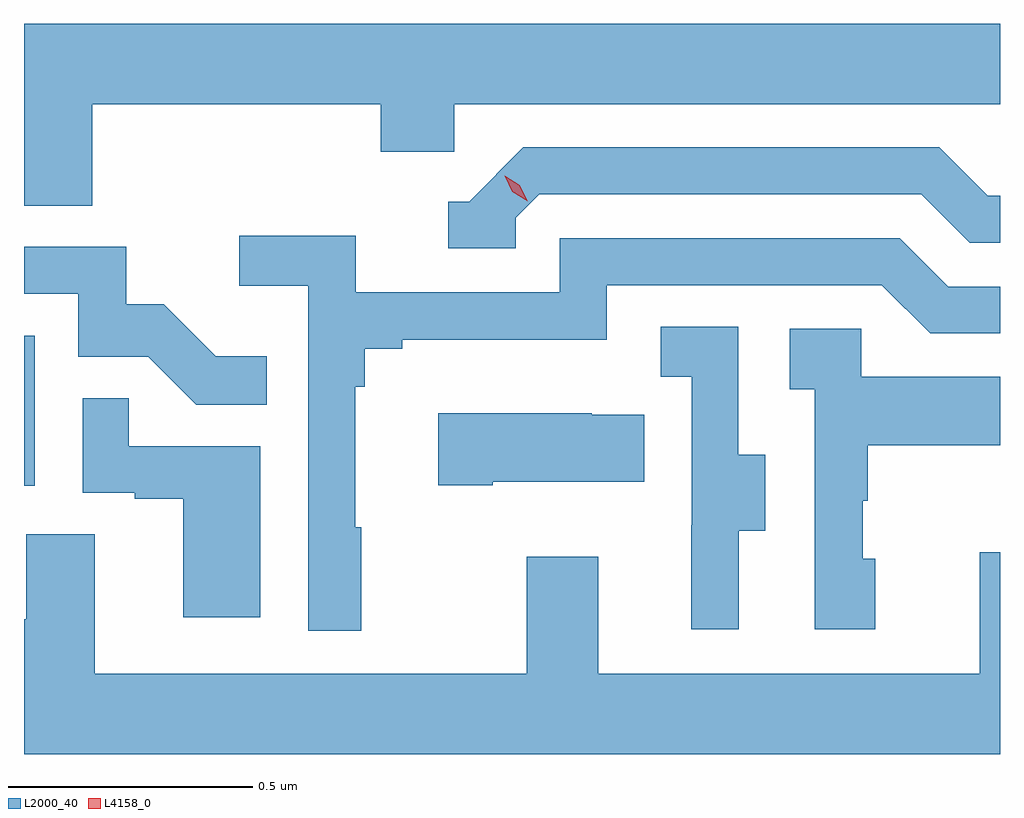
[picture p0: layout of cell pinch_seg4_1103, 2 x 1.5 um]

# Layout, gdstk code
import gdstk
lib = gdstk.Library(unit=1e-6, precision=1e-09)
def R(c, l, rs):  # rectangles x0, y0, x1, y1
    for r in rs: c.add(gdstk.rectangle(r[:2], r[2:], *l))
def P(c, l, *ps):  # polygons
    for p in ps: c.add(gdstk.Polygon(p, *l))
L2000_40 = (2000, 40)
L4158_0 = (4158, 0)

pinch_seg4_1103 = lib.new_cell('pinch_seg4_1103')
R(pinch_seg4_1103, L2000_40, [(880.08,753.414,880.102,753.721)])
P(pinch_seg4_1103, L2000_40, [(880.22,754.196),(880.811,754.196),(880.811,754.098),(880.962,754.098),(880.962,754.196),(882.08,754.196),(882.08,754.36),(880.08,754.36),(880.08,753.988),(880.22,753.988)],
  [(881.088,753.963),(881.136,754.011),(881.919,754.011),(882.018,753.912),(882.08,753.912),(882.08,754.008),(882.055,754.008),(881.956,754.107),(881.103,754.107),(880.992,753.996),(880.949,753.996),(880.949,753.9),(881.088,753.9)],
  [(880.771,753.329),(880.759,753.329),(880.759,753.617),(880.778,753.617),(880.778,753.694),(880.855,753.694),(880.855,753.713),(881.274,753.713),(881.274,753.825),(881.838,753.825),(881.937,753.726),(882.08,753.726),(882.08,753.822),(881.974,753.822),(881.875,753.921),(881.178,753.921),(881.178,753.81),(880.76,753.81),(880.76,753.926),(880.521,753.926),(880.521,753.824),(880.662,753.824),(880.662,753.117),(880.771,753.117)],
  [(880.577,753.679),(880.473,753.679),(880.366,753.786),(880.29,753.786),(880.29,753.903),(880.08,753.903),(880.08,753.807),(880.191,753.807),(880.191,753.678),(880.335,753.678),(880.433,753.58),(880.577,753.58)],
  [(881.545,753.322),(881.599,753.322),(881.599,753.477),(881.544,753.477),(881.544,753.74),(881.385,753.74),(881.385,753.637),(881.448,753.637),(881.448,753.333),(881.447,753.333),(881.447,753.12),(881.545,753.12)],
  [(881.824,753.264),(881.799,753.264),(881.799,753.383),(881.809,753.383),(881.809,753.497),(882.08,753.497),(882.08,753.637),(881.796,753.637),(881.796,753.735),(881.649,753.735),(881.649,753.611),(881.7,753.611),(881.7,753.12),(881.824,753.12)],
  [(880.564,753.495),(880.295,753.495),(880.295,753.593),(880.2,753.593),(880.2,753.399),(880.307,753.399),(880.307,753.387),(880.406,753.387),(880.406,753.144),(880.564,753.144)],
  [(881.041,753.422),(881.351,753.422),(881.351,753.559),(881.243,753.559),(881.243,753.562),(880.929,753.562),(880.929,753.415),(881.041,753.415)],
  [(882.08,753.277),(882.038,753.277),(882.038,753.028),(881.257,753.028),(881.257,753.268),(881.11,753.268),(881.11,753.028),(880.225,753.028),(880.225,753.314),(880.085,753.314),(880.085,753.14),(880.08,753.14),(880.08,752.864),(882.08,752.864)])
P(pinch_seg4_1103, L4158_0, [(881.112,753.997),(881.081,754.016),(881.065,754.049),(881.065,754.049),(881.065,754.049),(881.096,754.03),(881.112,753.997),(881.112,753.997)])

lib.write_gds('pinch_seg4_1103.gds')
